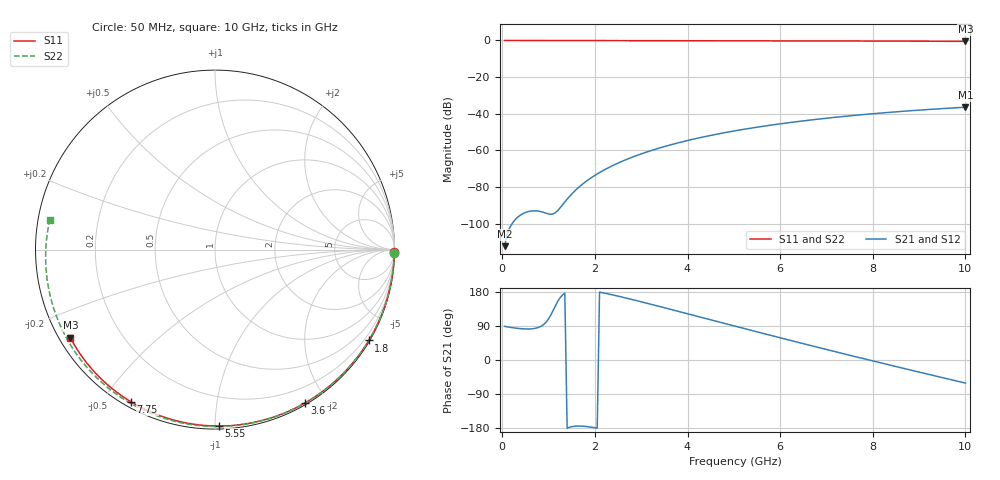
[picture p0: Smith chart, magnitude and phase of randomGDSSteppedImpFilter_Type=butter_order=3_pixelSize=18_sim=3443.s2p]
! freq	dB(S11)	phase(S11)	dB(S12)	phase(S12)
!  dB(S21)	phase(S21)	dB(S22)	phase(S22)
!S-par simulation data
#  GHz  S  DB  R 50
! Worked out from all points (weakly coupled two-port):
!   200 points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, 50 MHz to 10 GHz, reference 50 ohm
!   highest |S21| = -36.48 dB at 10 GHz (marker M1); lowest = -112.3 dB at 50 MHz (marker M2)
!   lowest |S11| = -0.5 dB at 10 GHz (marker M3), VSWR 34.58, Z = 1.56 - j14 ohm
!   |S11| at or under -10 dB: nowhere
!   |S22| runs from -0.6 to 0.0 dB; largest |S21 - S12| = 0
!   S11 on the Smith chart (normalised r, x): 50 MHz: open; 1.8 GHz: 0.03, -3.66; 3.6 GHz: 0.02, -1.75; 5.55 GHz: 0.02, -1.02; 7.75 GHz: 0.02, -0.59; 10 GHz: 0.03, -0.28
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0.05  -0.00 -0.8  -112.34 88.8  -112.34 88.8  -0.00 -1.1
0.45  -0.01 -7.7  -94.52 82.2  -94.52 82.2  -0.01 -10.2
0.8  -0.02 -13.7  -93.29 86.9  -93.29 86.9  -0.02 -18.0
1.2  -0.03 -20.5  -92.82 155.5  -92.82 155.5  -0.03 -26.9
1.65  -0.04 -28.0  -80.20 -174.3  -80.20 -174.3  -0.05 -36.8
1.75  -0.04 -29.7  -78.10 -174.8  -78.10 -174.8  -0.05 -38.9
1.8  -0.04 -30.5  -77.13 -175.3  -77.13 -175.3  -0.05 -40.0
2.1  -0.05 -35.5  -72.13 179.1  -72.13 179.1  -0.06 -46.4
2.5  -0.05 -42.0  -66.96 168.6  -66.96 168.6  -0.07 -54.9
2.9  -0.06 -48.5  -62.85 156.7  -62.85 156.7  -0.08 -63.1
3.4  -0.08 -56.4  -58.68 141.1  -58.68 141.1  -0.10 -73.2
3.6  -0.08 -59.5  -57.24 134.8  -57.24 134.8  -0.10 -77.1
4.3  -0.10 -70.3  -52.92 112.4  -52.92 112.4  -0.13 -90.5
5.05  -0.13 -81.4  -49.23 88.5  -49.23 88.5  -0.16 -104.4
5.55  -0.15 -88.7  -47.17 72.7  -47.17 72.7  -0.18 -113.3
6.1  -0.17 -96.4  -45.19 55.5  -45.19 55.5  -0.21 -123.0
6.7  -0.20 -104.7  -43.31 36.9  -43.31 36.9  -0.25 -133.3
7.25  -0.24 -112.2  -41.80 20.1  -41.80 20.1  -0.30 -142.6
7.75  -0.28 -118.9  -40.58 5.1  -40.58 5.1  -0.34 -151.1
8.35  -0.33 -126.9  -39.28 -12.8  -39.28 -12.8  -0.39 -161.3
9.2  -0.41 -138.1  -37.70 -37.8  -37.70 -37.8  -0.49 -175.9
10  -0.50 -148.6  -36.48 -60.9  -36.48 -60.9  -0.58 169.8
